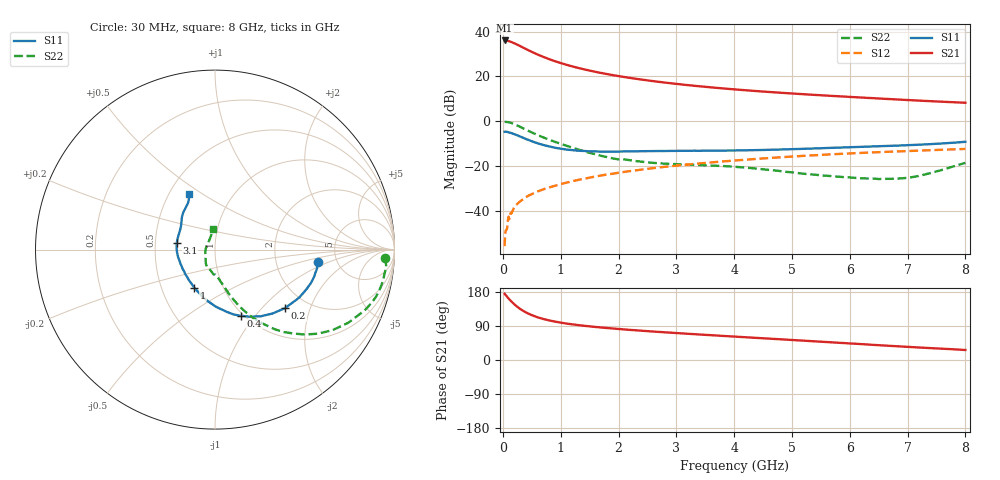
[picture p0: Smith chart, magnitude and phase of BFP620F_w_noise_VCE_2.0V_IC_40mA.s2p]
! Infineon Technologies  Discrete & RF Semiconductors
! BFP620F
! VCE =  2.0 V,  IC =  40 mA
! Common Emitter S-Parameters:  Dec 2014
# GHz  S  MA  R  50
!  f  S11  S21  S12  S22
! GHz  MAG  ANG  MAG  ANG  MAG  ANG  MAG  ANG
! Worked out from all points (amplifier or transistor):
!   95 points, 30 MHz to 8 GHz, reference 50 ohm
!   highest |S21| = 36.0 dB at 30 MHz (marker M1)
!   |S21| within 3 dB of that: start of sweep to 335.7 MHz
!   unconditionally stable (mu >= 1): 2.162 GHz to end of sweep
!   at 300 MHz: K = 0.45, MSG = 34.7 dB, |S12| = -35.9 dB
!   at 3.3 GHz: K = 1.03, MAG = 16.5 dB, |S12| = -19.2 dB
!   at 8 GHz: K = 1.06, MAG = 8.9 dB, |S12| = -12.5 dB
!   lowest NFmin = 1.36 dB at 450 MHz
!   S11 on the Smith chart (normalised r, x): 30 MHz: 3.56, -0.71; 200 MHz: 1.55, -1.36; 400 MHz: 0.97, -0.85; 1 GHz: 0.73, -0.33; 3.1 GHz: 0.65, +0.05; 8 GHz: 0.63, +0.44
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0.03  0.5754 -6.7  63.21 174.8  0.0016 93.4  0.949 -2.7
0.07  0.5731 -14.8  62.51 167.5  0.0038 86.6  0.953 -9.5
0.12  0.55 -25.4  59.88 158.7  0.0074 81.6  0.9265 -17.8
0.15  0.5356 -30.9  58.1 154.1  0.0087 76.5  0.8999 -22.1
0.2  0.5083 -39.9  54.49 146.8  0.0123 75.6  0.8477 -28.7
0.25  0.4792 -48.0  50.88 140.3  0.0141 72.0  0.7942 -34.4
0.3  0.4511 -55.4  47.28 134.7  0.0161 70.6  0.7399 -39.3
0.35  0.4227 -62.2  43.77 129.8  0.018 70.1  0.6873 -43.5
0.4  0.3971 -68.5  40.66 125.5  0.02 69.6  0.639 -47.0
0.5  0.3534 -79.2  35.15 118.4  0.0233 68.1  0.5566 -53.0
0.6  0.3188 -88.9  30.69 112.7  0.0267 68.3  0.4865 -57.5
0.7  0.2917 -97.3  27.12 108.2  0.0298 67.6  0.4306 -61.2
0.8  0.2712 -105.0  24.16 104.5  0.0328 67.8  0.3833 -64.1
1  0.2417 -118.6  19.77 98.6  0.039 67.4  0.3101 -68.8
1.4  0.2146 -140.6  14.35 90.4  0.0513 67.0  0.2131 -76.3
2  0.2077 -164.4  10.11 81.9  0.0699 65.2  0.1392 -89.3
2.7  0.214 177.8  7.513 74.1  0.0916 61.7  0.1139 -105.3
3.1  0.2163 169.8  6.552 70.2  0.1037 59.7  0.107 -111.7
4.1  0.2211 153.4  4.989 60.9  0.134 53.9  0.0932 -122.7
5.4  0.2446 139.7  3.837 49.2  0.1723 45.3  0.0633 -147.8
6.7  0.2791 127.3  3.092 37.3  0.2065 36.1  0.0511 155.9
8  0.3438 114.7  2.561 26.4  0.238 27.2  0.1162 95.6
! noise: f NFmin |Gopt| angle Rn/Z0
0.45  1.36  0.16  -173  0.16
0.9  1.38  0.16  -172  0.13
1.5  1.39  0.21  -152  0.11
1.8  1.4  0.21  -151  0.11
1.9  1.41  0.21  -150  0.11
2.4  1.43  0.21  214  0.13
3.5  1.49  0.22  220  0.17
5.5  1.63  0.27  247  0.17
6  1.67  0.28  261  0.2
